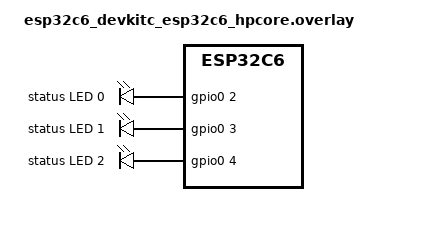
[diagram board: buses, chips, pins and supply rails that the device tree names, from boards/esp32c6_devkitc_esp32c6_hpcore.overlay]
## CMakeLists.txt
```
# SPDX-License-Identifier: Apache-2.0

cmake_minimum_required(VERSION 3.20.0)
find_package(Zephyr REQUIRED HINTS $ENV{ZEPHYR_BASE})
project(app_more_services7)

zephyr_syscall_header(${CMAKE_CURRENT_SOURCE_DIR}/src/svc.h)

target_sources(app PRIVATE src/main.c src/svc.c)
```

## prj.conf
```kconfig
CONFIG_USERSPACE=y
CONFIG_APPLICATION_DEFINED_SYSCALL=y

CONFIG_GPIO=y

CONFIG_LOG=y
CONFIG_LOG_MODE_MINIMAL=y
CONFIG_THREAD_NAME=y

CONFIG_MAIN_STACK_SIZE=4096
```

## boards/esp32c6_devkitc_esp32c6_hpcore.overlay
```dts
/*
 * Copyright (c) 2026 Espressif Systems (Shanghai) Co., Ltd.
 *
 * SPDX-License-Identifier: Apache-2.0
 */

/*
 * The devkit exposes a user button (sw0, GPIO9) but no simple GPIO LEDs. Define
 * three status LEDs on free pins so the input-event service has a multi-pin
 * output set to grant from.
 */
/ {
	leds {
		compatible = "gpio-leds";

		led_a: led_0 {
			gpios = <&gpio0 2 GPIO_ACTIVE_HIGH>;
			label = "status LED 0";
		};

		led_b: led_1 {
			gpios = <&gpio0 3 GPIO_ACTIVE_HIGH>;
			label = "status LED 1";
		};

		led_c: led_2 {
			gpios = <&gpio0 4 GPIO_ACTIVE_HIGH>;
			label = "status LED 2";
		};
	};

	aliases {
		led0 = &led_a;
		led1 = &led_b;
		led2 = &led_c;
	};
};
```

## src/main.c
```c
/*
 * Copyright (c) 2026 Espressif Systems (Shanghai) Co., Ltd.
 *
 * SPDX-License-Identifier: Apache-2.0
 */

/*
 * An app reacting to a physical button through a brokered input-event seam, all
 * from user mode. The platform owns the button irq and the status LED; the app
 * blocks on svc_button_wait() and toggles the LED on each press. With no press
 * within the timeout the round reports idle, so the demo runs unattended.
 */

#include "svc.h"

#include <zephyr/kernel.h>
#include <zephyr/sys/printk.h>

#define STACK_SIZE 2048
#define APP_PRIO   5

K_THREAD_STACK_DEFINE(app_stack, STACK_SIZE);
static struct k_thread app_thread;

static void app_entry(void *p1, void *p2, void *p3)
{
	ARG_UNUSED(p1); ARG_UNUSED(p2); ARG_UNUSED(p3);

	int led_on = 0;

	printk("  [app] waiting for button presses (sw0)...\n");

	for (int round = 0; round < 5; round++) {
		int rc = svc_button_wait(1500);

		if (rc >= 0) {
			led_on = !led_on;
			svc_led_set(led_on);
			printk("  [app] press #%d -> led %s\n", rc,
			       led_on ? "on" : "off");
		} else {
			printk("  [app] round %d: idle (no press)\n", round);
		}
	}

	svc_led_set(0);
	printk("  [app] done - used button event seam + led\n");
}

int main(void)
{
	printk("\n*** more services 7: button event + led (C6) ***\n");

	svc_input_install();

	k_tid_t t = k_thread_create(&app_thread, app_stack, STACK_SIZE, app_entry,
				    NULL, NULL, NULL, APP_PRIO, K_USER, K_FOREVER);

	k_thread_start(t);
	k_thread_join(t, K_FOREVER);

	printk("\n*** done ***\n");
	return 0;
}
```

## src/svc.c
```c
/*
 * Copyright (c) 2026 Espressif Systems (Shanghai) Co., Ltd.
 *
 * SPDX-License-Identifier: Apache-2.0
 */

#include "svc.h"

#include <zephyr/kernel.h>
#include <zephyr/device.h>
#include <zephyr/drivers/gpio.h>
#include <zephyr/internal/syscall_handler.h>
#include <errno.h>

/* The platform owns both the button (input) and the status LED (output). */
static const struct gpio_dt_spec button =
	GPIO_DT_SPEC_GET(DT_ALIAS(sw0), gpios);
static const struct gpio_dt_spec led =
	GPIO_DT_SPEC_GET(DT_ALIAS(led0), gpios);

static struct gpio_callback button_cb;

/* Press events are counted in S-mode and handed to the app one at a time. */
static K_SEM_DEFINE(press_sem, 0, 16);
static atomic_t press_count;

static void button_pressed(const struct device *dev, struct gpio_callback *cb,
			   uint32_t pins)
{
	ARG_UNUSED(dev); ARG_UNUSED(cb); ARG_UNUSED(pins);

	atomic_inc(&press_count);
	k_sem_give(&press_sem);
}

void svc_input_install(void)
{
	if (gpio_is_ready_dt(&led)) {
		(void)gpio_pin_configure_dt(&led, GPIO_OUTPUT_INACTIVE);
	}

	if (!gpio_is_ready_dt(&button)) {
		return;
	}

	(void)gpio_pin_configure_dt(&button, GPIO_INPUT);
	(void)gpio_pin_interrupt_configure_dt(&button, GPIO_INT_EDGE_TO_ACTIVE);
	gpio_init_callback(&button_cb, button_pressed, BIT(button.pin));
	(void)gpio_add_callback(button.port, &button_cb);
}

int z_impl_svc_button_wait(int32_t timeout_ms)
{
	k_timeout_t t = (timeout_ms < 0) ? K_FOREVER : K_MSEC(timeout_ms);

	if (k_sem_take(&press_sem, t) != 0) {
		return -EAGAIN;
	}

	return (int)atomic_get(&press_count);
}

int z_impl_svc_led_set(int on)
{
	if (!gpio_is_ready_dt(&led)) {
		return -ENODEV;
	}

	return gpio_pin_set_dt(&led, on ? 1 : 0);
}

#ifdef CONFIG_USERSPACE
static inline int z_vrfy_svc_button_wait(int32_t timeout_ms)
{
	return z_impl_svc_button_wait(timeout_ms);
}
#include <zephyr/syscalls/svc_button_wait_mrsh.c>

static inline int z_vrfy_svc_led_set(int on)
{
	return z_impl_svc_led_set(on);
}
#include <zephyr/syscalls/svc_led_set_mrsh.c>
#endif
```

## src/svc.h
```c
/*
 * Copyright (c) 2026 Espressif Systems (Shanghai) Co., Ltd.
 *
 * SPDX-License-Identifier: Apache-2.0
 */

#ifndef APP_MORE_SERVICES7_SVC_H_
#define APP_MORE_SERVICES7_SVC_H_

#include <zephyr/kernel.h>

/*
 * A seventh batch: a physical input-interrupt event seam. The platform owns the
 * user button, configures its edge interrupt, and pushes an event into a
 * per-app queue on every press. The app blocks waiting for press events without
 * ever touching the GPIO controller - the same async push shape used for BLE
 * notifications and timer expiry, here driven by a real pin.
 *
 *   svc_button_wait  - block until the next button press; returns the running
 *                      press count, or -EAGAIN on timeout.
 *   svc_led_set      - drive one of several status LEDs (multi-pin output). The
 *                      app may only drive granted pins; ungranted pins are
 *                      rejected at the syscall boundary.
 */

/* Brokered event seam: wait up to @timeout_ms for a press; returns press count. */
__syscall int svc_button_wait(int32_t timeout_ms);

/* Scoped output: drive granted LED @pin (@on != 0 lights it). */
__syscall int svc_led_set(int pin, int on);

/* Supervisor-only: bind the button irq and configure the LEDs. */
void svc_input_install(void);

/* Supervisor-only: grant the app a set of LED pins (bit N = pin N). */
void svc_led_grant(uint32_t pin_mask);

#include <zephyr/syscalls/svc.h>

#endif /* APP_MORE_SERVICES7_SVC_H_ */
```
